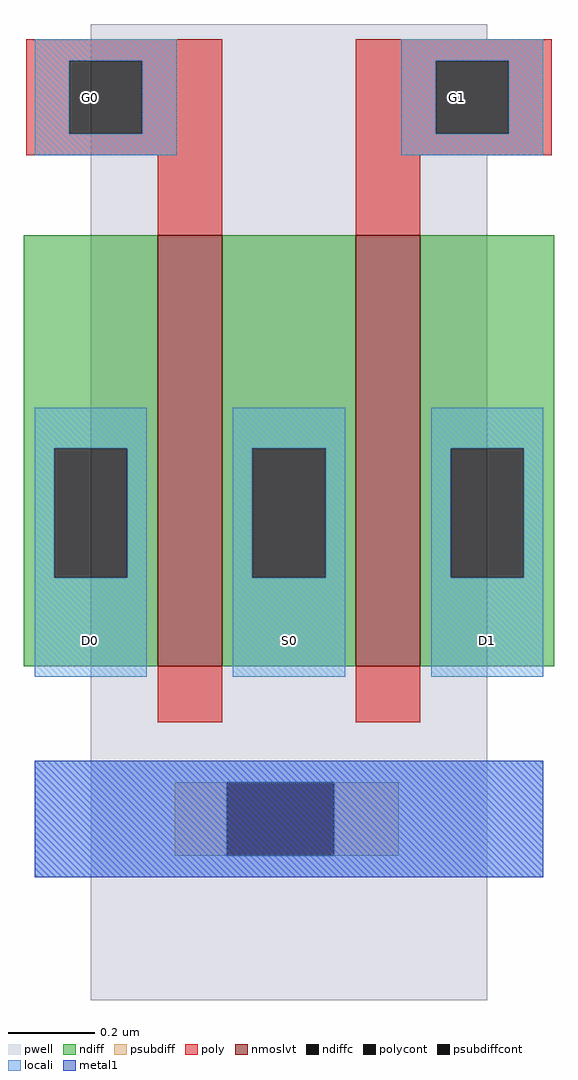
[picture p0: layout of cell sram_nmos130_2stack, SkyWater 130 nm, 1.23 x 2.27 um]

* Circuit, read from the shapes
.subckt sram_nmos130_2stack D0 D1 G0 G1 S0
XM1 S0 G0 D0 VSUBS sky130_fd_pr__nfet_01v8_lvt w=1 l=0.15
XM2 D1 G1 S0 VSUBS sky130_fd_pr__nfet_01v8_lvt w=1 l=0.15
.ends

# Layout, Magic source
magic
tech sky130A
magscale 1 2
<< pwell >>
rect 0 362 184 369
rect 0 308 210 362
rect 0 -84 184 308
<< nmoslvt >>
rect 31 71 61 271
rect 123 71 153 271
<< ndiff >>
rect -31 172 31 271
rect -31 112 -17 172
rect 17 112 31 172
rect -31 71 31 112
rect 61 172 123 271
rect 61 112 75 172
rect 109 112 123 172
rect 61 71 123 112
rect 153 172 215 271
rect 153 112 167 172
rect 201 112 215 172
rect 153 71 215 112
<< ndiffc >>
rect -17 112 17 172
rect 75 112 109 172
rect 167 112 201 172
<< psubdiff >>
rect 39 -17 63 17
rect 113 -17 143 17
<< psubdiffcont >>
rect 63 -17 113 17
<< poly >>
rect -30 352 61 362
rect -30 318 -10 352
rect 24 318 61 352
rect -30 308 61 318
rect 31 271 61 308
rect 123 352 214 362
rect 123 318 160 352
rect 194 318 214 352
rect 123 308 214 318
rect 123 271 153 308
rect 31 45 61 71
rect 123 45 153 71
<< polycont >>
rect -10 318 24 352
rect 160 318 194 352
<< locali >>
rect -26 352 40 362
rect -26 318 -10 352
rect 24 318 40 352
rect -26 308 40 318
rect 144 352 210 362
rect 144 318 160 352
rect 194 318 210 352
rect 144 308 210 318
rect -26 172 26 191
rect -26 112 -17 172
rect 17 112 26 172
rect -26 66 26 112
rect 66 172 118 191
rect 66 112 75 172
rect 109 112 118 172
rect 66 66 118 112
rect 158 172 210 191
rect 158 112 167 172
rect 201 112 210 172
rect 158 66 210 112
rect -26 17 210 27
rect -26 -17 63 17
rect 113 -17 210 17
rect -26 -27 210 -17
<< metal1 >>
rect -26 -27 210 27
<< labels >>
flabel locali -26 308 26 362 0 FreeSans 136 0 0 0 G0
flabel locali 66 66 118 100 0 FreeSans 160 0 0 0 S0
flabel locali 158 66 210 100 0 FreeSans 160 0 0 0 D1
flabel locali -26 66 26 100 0 FreeSans 160 0 0 0 D0
flabel locali 144 308 196 362 0 FreeSans 136 0 0 0 G1
<< end >>
